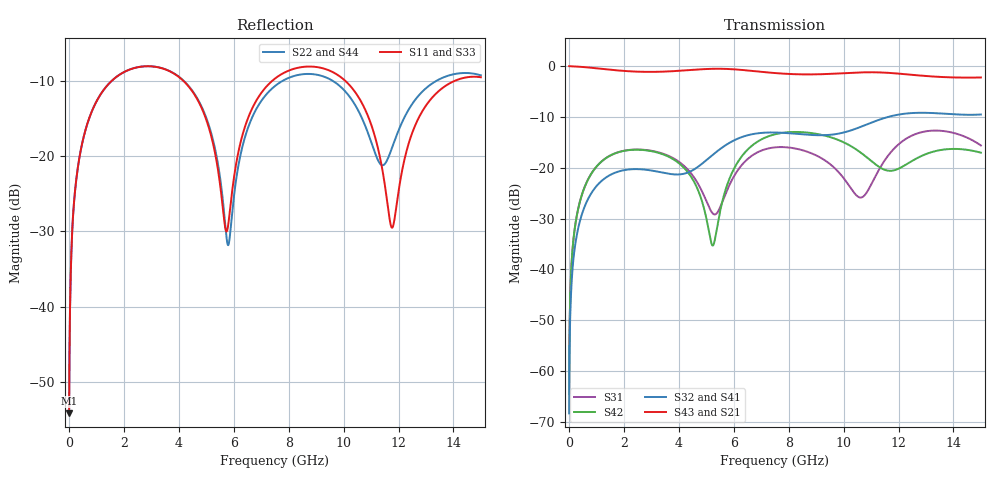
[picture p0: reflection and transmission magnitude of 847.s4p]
! Created with skrf 1.8.0 (http://scikit-rf.org).
# GHz S RI R 50.0
!freq ReS11 ImS11 ReS12 ImS12 ReS13 ImS13
! ReS14 ImS14
! ReS21 ImS21 ReS22 ImS22 ReS23 ImS23
! ReS24 ImS24
! ReS31 ImS31 ReS32 ImS32 ReS33 ImS33
! ReS34 ImS34
! ReS41 ImS41 ReS42 ImS42 ReS43 ImS43
! ReS44 ImS44
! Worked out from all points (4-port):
!   2499 points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, 5 MHz to 15 GHz, reference 50 ohm
!   strongest paths, dB at 5 MHz, 3.476 GHz, 7.19 GHz, 11.1 GHz, 15 GHz:
!     S43: 0.0, -1.1, -1.2, -1.2, -2.2
!     S21: 0.0, -1.1, -1.2, -1.2, -2.2
!     S32: -68.3, -21.0, -13.1, -10.9, -9.5
!     S41: -68.3, -21.1, -13.1, -10.9, -9.6
!     S42: -64.4, -17.5, -14.0, -19.0, -17.0
!     S31: -64.4, -17.3, -16.3, -22.3, -15.6
!   lowest |S11| = -54.2 dB at 5 MHz (marker M1), VSWR 1.00, Z = 50.2 + j0.119 ohm
!   |S11| at or under -10 dB: start of sweep to 1.557 GHz; 4.166 GHz to 7.402 GHz (3.236 GHz wide, 56 % of centre); 10.06 GHz to 14.05 GHz (3.985 GHz wide, 33.1 % of centre)
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0.005  0.00156 0.00119  0.9984 -0.00303  7.73e-05 0.000598  -7.52e-05 -0.000378
       0.9984 -0.00303  0.00156 0.00119  -7.52e-05 -0.000378  7.73e-05 0.000598
       7.73e-05 0.000598  -7.52e-05 -0.000378  0.00156 0.00119  0.9984 -0.00303
       -7.52e-05 -0.000378  7.73e-05 0.000598  0.9984 -0.00303  0.00156 0.00119
0.3126303  0.022 0.0784  0.97 -0.189  0.00975 0.0357  -0.00814 -0.0224
           0.97 -0.189  0.022 0.0784  -0.00815 -0.0224  0.00973 0.0357
           0.00975 0.0357  -0.00815 -0.0224  0.022 0.0784  0.97 -0.189
           -0.00814 -0.0224  0.00973 0.0357  0.97 -0.189  0.022 0.0784
1.519383  0.2491 0.1872  0.5955 -0.7019  0.1162 0.0643  -0.0843 -0.0137
          0.5955 -0.7019  0.249 0.1873  -0.0845 -0.0135  0.1156 0.0651
          0.1162 0.0643  -0.0845 -0.0135  0.2489 0.1873  0.5955 -0.7019
          -0.0843 -0.0137  0.1156 0.0651  0.5955 -0.7019  0.2491 0.1872
5.596082  0.033 -0.0325  -0.9284 -0.1501  -0.0354 0.0309  -0.0243 0.1576
          -0.9284 -0.1501  0.0286 -0.0439  -0.0205 0.1581  0.0266 0.04
          -0.0354 0.0309  -0.0205 0.1581  0.0341 -0.033  -0.9283 -0.1505
          -0.0243 0.1576  0.0266 0.04  -0.9283 -0.1505  0.0279 -0.0445
8.997499  0.3847 -0.0703  0.0299 0.8283  0.1324 -0.0067  0.1966 -0.0632
          0.0299 0.8283  0.3474 -0.0202  0.1966 -0.072  0.1333 -0.1701
          0.1324 -0.0067  0.1966 -0.072  0.3807 -0.0685  0.0299 0.8295
          0.1966 -0.0632  0.1333 -0.1701  0.0299 0.8295  0.3458 -0.0233
11.7674  0.0332 -0.00408  0.8528 0.0298  0.1021 0.106  0.00988 -0.3233
         0.8528 0.0298  0.098 0.0581  -0.00666 -0.3236  -0.0601 0.0719
         0.1021 0.106  -0.00666 -0.3236  0.0354 -0.000427  0.8529 0.0281
         0.00988 -0.3233  -0.0601 0.0719  0.8529 0.0281  0.0922 0.0648
15  0.3327 -0.0309  -0.0365 -0.7727  0.0882 -0.1404  -0.3284 0.0475
    -0.0365 -0.7727  0.3381 -0.0635  -0.3266 0.0713  0.0645 -0.1252
    0.0882 -0.1404  -0.3266 0.0713  0.3315 -0.0267  -0.0361 -0.7723
    -0.3284 0.0475  0.0645 -0.1252  -0.0361 -0.7723  0.3408 -0.0663
